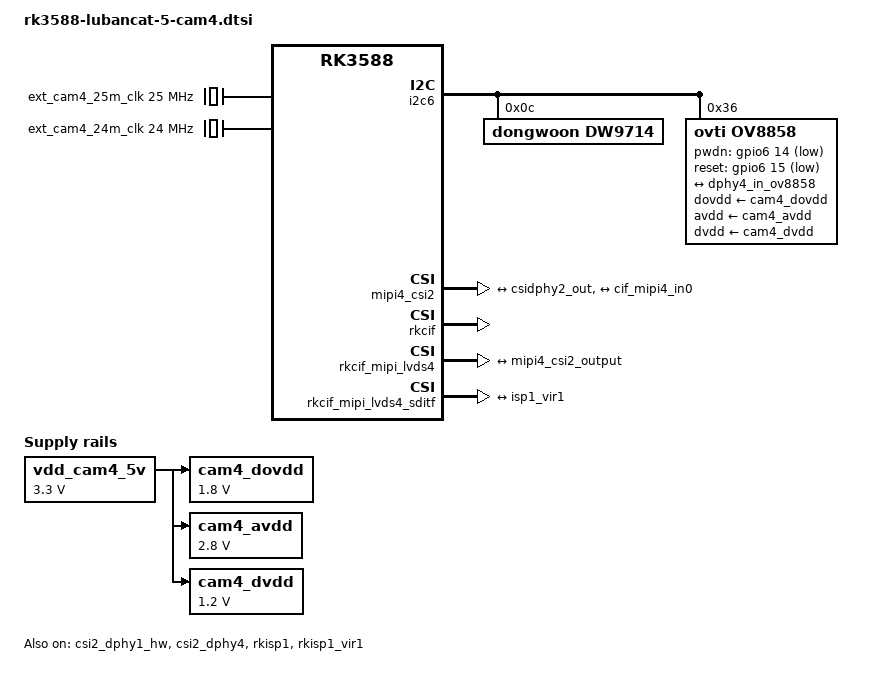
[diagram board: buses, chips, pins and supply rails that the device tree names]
// SPDX-License-Identifier: (GPL-2.0+ OR MIT)
/*
 * Copyright (c) 2020 Rockchip Electronics Co., Ltd.
 *
 */

/ {
	ext_cam4_25m_clk: external-camera-25m-clock {
		compatible = "fixed-clock";
		clock-frequency = <25000000>;
		clock-output-names = "ext_cam_25m_clk";
		#clock-cells = <0>;
	};

	ext_cam4_24m_clk: external-camera-24m-clock {
		compatible = "fixed-clock";
		#clock-cells = <0>;
		clock-frequency = <24000000>;
		clock-output-names = "ext_cam_24m_clk";
	};

	vdd_cam4_5v: vdd-cam4-5v-regulator {
		compatible = "regulator-fixed";
		regulator-name = "vdd_cam_5v";
		regulator-always-on;
		regulator-boot-on;
		regulator-min-microvolt = <3300000>;
		regulator-max-microvolt = <3300000>;
	};

	cam4_dovdd: cam4-dovdd {
		compatible = "regulator-fixed";
		regulator-name = "cam_dovdd";
		regulator-always-on;
		regulator-boot-on;
		regulator-min-microvolt = <1800000>;
		regulator-max-microvolt = <1800000>;
		vin-supply = <&vdd_cam4_5v>;
	};

	cam4_avdd: cam4-avdd {
		compatible = "regulator-fixed";
		regulator-name = "cam_avdd";
		regulator-always-on;
		regulator-boot-on;
		regulator-min-microvolt = <2800000>;
		regulator-max-microvolt = <2800000>;
		vin-supply = <&vdd_cam4_5v>;
	};

	cam4_dvdd: cam4-dvdd {
		compatible = "regulator-fixed";
		regulator-name = "cam_dvdd";
		regulator-always-on;
		regulator-boot-on;
		regulator-min-microvolt = <1200000>;
		regulator-max-microvolt = <1200000>;
		vin-supply = <&vdd_cam4_5v>;
	};
};

/* Link path: sensor->csi2_dphy4->mipi4_csi2->rkcif_mipi_lvds4--->rkcif_mipi_lvds4_sditf->rkisp1_vir1 */
&i2c6 {
	status = "okay";
	pinctrl-names = "default";
	pinctrl-0 = <&i2c6m0_xfer>;

	
	dw9714: dw9714@c {
		status = "okay";
		compatible = "dongwoon,dw9714";
		reg = <0xc>;
		rockchip,camera-module-index = <0>;
		rockchip,vcm-max-current = <100>;
		rockchip,vcm-start-current = <0>;
		rockchip,vcm-rated-current = <100>;
		rockchip,vcm-step-mode = <0xd>;
		rockchip,vcm-dlc-enable = <0>;
		rockchip,vcm-mclk = <0>;	
		rockchip,vcm-t-src = <0>;
		rockchip,camera-module-facing = "back";
	};

	ov5647: ov5647@36 {
		compatible = "ovti,ov5647";
		status = "disabled";
		reg = <0x36>;
		clocks = <&ext_cam4_25m_clk>;
		clock-names = "ext_cam_25m_clk";
		pwdn-gpios = <&gpio6 14 GPIO_ACTIVE_LOW>;
		lens-focus = <&dw9714>;

		port {
			ov5647_out: endpoint {
				remote-endpoint = <&dphy4_in_ov5647>;
				data-lanes = <1 2>;
			};
		};
	};

	ov5648: camera@36 {
		compatible = "ovti,ov5648";
		status = "disabled";
		reg = <0x36>;
		clocks = <&ext_cam4_24m_clk>;
		clock-names = "xvclk";
		dovdd-supply= <&cam4_dovdd>; /* 1.8v */
		avdd-supply = <&cam4_avdd>;  /* 2.8v */
		dvdd-supply = <&cam4_dvdd>;  /* 1.2v */
		pwdn-gpios = <&gpio6 14 GPIO_ACTIVE_HIGH>;
		reset-gpios = <&gpio6 15 GPIO_ACTIVE_LOW>;
		rotation = <180>;

		rockchip,camera-module-index = <2>;
		rockchip,camera-module-facing = "back";
		rockchip,camera-module-name = "THDS11073";
		rockchip,camera-module-lens-name = "Largan-40122a1";
		lens-focus = <&dw9714>;

		port {
			/* MIPI CSI-2 bus endpoint */
			ov5648_out: endpoint {
				remote-endpoint = <&dphy4_in_ov5648>;
				clock-lanes = <0>;
				data-lanes = <1 2>;
			};
		};
	};

	ov8858: ov8858@36 {
		compatible = "ovti,ov8858";
		status = "okay";
		reg = <0x36>;
		clocks = <&ext_cam4_24m_clk>;
		clock-names = "xvclk";
		dovdd-supply= <&cam4_dovdd>; /* 1.8v */
		avdd-supply = <&cam4_avdd>;  /* 2.8v */
		dvdd-supply = <&cam4_dvdd>;  /* 1.2v */
		pwdn-gpios = <&gpio6 14 GPIO_ACTIVE_LOW>;
		reset-gpios = <&gpio6 15 GPIO_ACTIVE_LOW>;
		rotation = <180>;

		rockchip,camera-module-index = <2>;
		rockchip,camera-module-facing = "back";
		rockchip,camera-module-name = "HS5885-BNSM1018-V01";
		rockchip,camera-module-lens-name = "default";
		lens-focus = <&dw9714>;

		port {
			/* MIPI CSI-2 bus endpoint */
			ov8858_out: endpoint {
				remote-endpoint = <&dphy4_in_ov8858>;
				clock-lanes = <0>;
				data-lanes = <1 2>;
			};
		};
	};

   ov13850: ov13850@10 {
		compatible = "ovti,ov13850";
		status = "disabled";
		reg = <0x10>;
		clocks = <&ext_cam4_24m_clk>;
		clock-names = "xvclk";
		dovdd-supply= <&cam4_dovdd>; /* 1.8v */
		avdd-supply = <&cam4_avdd>;  /* 2.8v */
		dvdd-supply = <&cam4_dvdd>;  /* 1.2v */
		pwdn-gpios = <&gpio6 14 GPIO_ACTIVE_HIGH>;
		reset-gpios = <&gpio6 15 GPIO_ACTIVE_HIGH>;
		rotation = <180>;

		rockchip,camera-module-index = <2>;
		rockchip,camera-module-facing = "back";
		rockchip,camera-module-name = "ZC-OV13850R2A-V1";
		rockchip,camera-module-lens-name = "Largan-50064B31";
		lens-focus = <&dw9714>;

		port {
			/* MIPI CSI-2 bus endpoint */
			ov13850_out: endpoint {
				remote-endpoint = <&dphy4_in_ov13850>;
				clock-lanes = <0>;
				data-lanes = <1 2>;
			};
		};
    };
};

&csi2_dphy1_hw {
	status = "okay";
};

&csi2_dphy4 {
	status = "okay";
	
	ports {
		#address-cells = <1>;
		#size-cells = <0>;

		port@0 {
			reg = <0>;
			#address-cells = <1>;
			#size-cells = <0>;

			dphy4_in_ov5648: endpoint@1 {
				reg = <1>;
				remote-endpoint = <&ov5648_out>;
				data-lanes = <1 2>;
			};

			dphy4_in_ov8858: endpoint@2 {
				reg = <2>;
				remote-endpoint = <&ov8858_out>;
				data-lanes = <1 2>;
			};

			dphy4_in_ov13850: endpoint@3 {
				reg = <3>;
				remote-endpoint = <&ov13850_out>;
				data-lanes = <1 2>;
			};

			dphy4_in_ov5647: endpoint@4 {
				reg = <4>;
				remote-endpoint = <&ov5647_out>;
				data-lanes = <1 2>;
			};
		};

		port@1 {
			reg = <1>;
			#address-cells = <1>;
			#size-cells = <0>;

			csidphy2_out: endpoint@0 {
				reg = <0>;
				remote-endpoint = <&mipi4_csi2_input>;
			};
		};
	};
};

&mipi4_csi2 {
	status = "okay";

	ports {
		#address-cells = <1>;
		#size-cells = <0>;

		port@0 {
			reg = <0>;
			#address-cells = <1>;
			#size-cells = <0>;

			mipi4_csi2_input: endpoint@1 {
				reg = <1>;
				remote-endpoint = <&csidphy2_out>;
			};
		};

		port@1 {
			reg = <1>;
			#address-cells = <1>;
			#size-cells = <0>;

			mipi4_csi2_output: endpoint@0 {
				reg = <0>;
				remote-endpoint = <&cif_mipi4_in0>;
			};
		};
	};
};

&rkcif {
	status = "okay";
};

&rkcif_mipi_lvds4 {
	status = "okay";

	port {
		cif_mipi4_in0: endpoint {
			remote-endpoint = <&mipi4_csi2_output>;
		};
	};
};

&rkcif_mipi_lvds4_sditf {
	status = "okay";

	port {
		mipi_lvds4_sditf: endpoint {
			remote-endpoint = <&isp1_vir1>;
		};
	};
};

&rkcif_mmu {
	status = "okay";
};

&rkisp1 {
	status = "okay";
};

&isp1_mmu {
	status = "okay";
};

&rkisp1_vir1 {
	status = "okay";

	port {
		#address-cells = <1>;
		#size-cells = <0>;

		isp1_vir1: endpoint@0 {
			reg = <0>;
			remote-endpoint = <&mipi_lvds4_sditf>;
		};
	};
};

